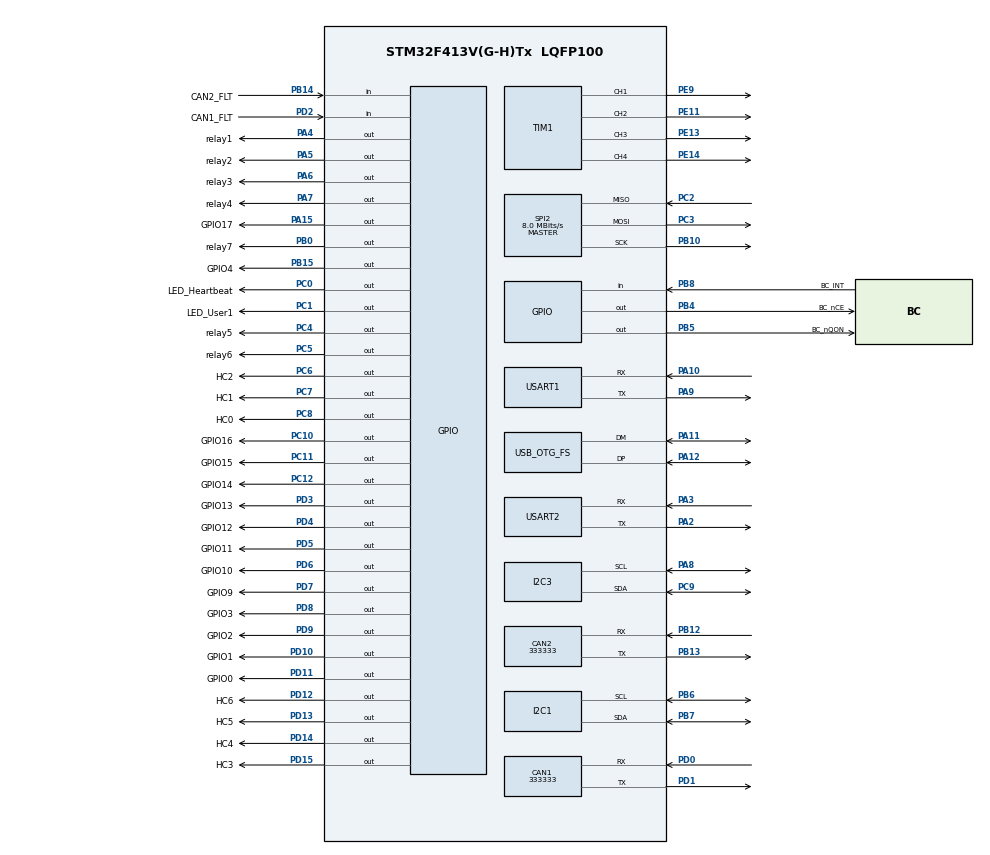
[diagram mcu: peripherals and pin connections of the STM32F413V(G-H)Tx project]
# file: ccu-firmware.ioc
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CAN1.CalculateBaudRate=333333
CAN1.CalculateTimeBit=3000
CAN1.CalculateTimeQuantum=1000.0
CAN2.CalculateBaudRate=333333
CAN2.CalculateTimeBit=3000
CAN2.CalculateTimeQuantum=1000.0
FREERTOS.Tasks01=defaultTask,24,128,StartDefaultTask,Default,NULL,Dynamic,NULL,NULL
Mcu.Family=STM32F4
Mcu.Name=STM32F413V(G-H)Tx
Mcu.Package=LQFP100
NVIC.OTG_FS_IRQn=true\:5\:0\:false\:false\:true\:true\:false\:true\:true
NVIC.PriorityGroup=NVIC_PRIORITYGROUP_4
PA10.Mode=Asynchronous
PA10.Signal=USART1_RX
PA11.Mode=Device_Only
PA11.Signal=USB_OTG_FS_DM
PA12.Mode=Device_Only
PA12.Signal=USB_OTG_FS_DP
PA13.Mode=Trace_Asynchronous_SW
PA13.Signal=SYS_JTMS-SWDIO
PA14.Mode=Trace_Asynchronous_SW
PA14.Signal=SYS_JTCK-SWCLK
PA15.GPIO_Label=GPIO17
PA15.Signal=GPIO_Output
PA2.Mode=Asynchronous
PA2.Signal=USART2_TX
PA3.Mode=Asynchronous
PA3.Signal=USART2_RX
PA4.GPIO_Label=relay1
PA4.Signal=GPIO_Output
PA5.GPIO_Label=relay2
PA5.Signal=GPIO_Output
PA6.GPIO_Label=relay3
PA6.Signal=GPIO_Output
PA7.GPIO_Label=relay4
PA7.Signal=GPIO_Output
PA8.Mode=I2C
PA8.Signal=I2C3_SCL
PA9.Mode=Asynchronous
PA9.Signal=USART1_TX
PB0.GPIO_Label=relay7
PB0.Signal=GPIO_Output
PB10.Mode=Full_Duplex_Master
PB10.Signal=SPI2_SCK
PB12.Mode=CAN_Activate
PB12.Signal=CAN2_RX
PB13.Mode=CAN_Activate
PB13.Signal=CAN2_TX
PB14.GPIO_Label=CAN2_FLT
PB14.Signal=GPIO_Input
PB15.GPIO_Label=GPIO4
PB15.Signal=GPIO_Output
PB3.Mode=Trace_Asynchronous_SW
PB3.Signal=SYS_JTDO-SWO
PB4.GPIO_Label=BC_nCE
PB4.Signal=GPIO_Output
PB5.GPIO_Label=BC_nQON
PB5.Signal=GPIO_Output
PB6.Mode=I2C
PB6.Signal=I2C1_SCL
PB7.Mode=I2C
PB7.Signal=I2C1_SDA
PB8.GPIO_Label=BC_INT
PB8.Signal=GPIO_Input
PC0.GPIO_Label=LED_Heartbeat
PC0.Signal=GPIO_Output
PC1.GPIO_Label=LED_User1
PC1.Signal=GPIO_Output
PC10.GPIO_Label=GPIO16
PC10.Signal=GPIO_Output
PC11.GPIO_Label=GPIO15
PC11.Signal=GPIO_Output
PC12.GPIO_Label=GPIO14
PC12.Signal=GPIO_Output
PC2.Mode=Full_Duplex_Master
PC2.Signal=SPI2_MISO
PC3.Mode=Full_Duplex_Master
PC3.Signal=SPI2_MOSI
PC4.GPIO_Label=relay5
PC4.Signal=GPIO_Output
PC5.GPIO_Label=relay6
PC5.Signal=GPIO_Output
PC6.GPIO_Label=HC2
PC6.Signal=GPIO_Output
PC7.GPIO_Label=HC1
PC7.Signal=GPIO_Output
PC8.GPIO_Label=HC0
PC8.Signal=GPIO_Output
PC9.Mode=I2C
PC9.Signal=I2C3_SDA
PD0.Mode=CAN_Activate
PD0.Signal=CAN1_RX
PD1.Mode=CAN_Activate
PD1.Signal=CAN1_TX
PD10.GPIO_Label=GPIO1
PD10.Signal=GPIO_Output
PD11.GPIO_Label=GPIO0
PD11.Signal=GPIO_Output
PD12.GPIO_Label=HC6
PD12.Signal=GPIO_Output
PD13.GPIO_Label=HC5
PD13.Signal=GPIO_Output
PD14.GPIO_Label=HC4
PD14.Signal=GPIO_Output
PD15.GPIO_Label=HC3
PD15.Signal=GPIO_Output
PD2.GPIO_Label=CAN1_FLT
PD2.Signal=GPIO_Input
PD3.GPIO_Label=GPIO13
PD3.Signal=GPIO_Output
PD4.GPIO_Label=GPIO12
PD4.Signal=GPIO_Output
PD5.GPIO_Label=GPIO11
PD5.Signal=GPIO_Output
PD6.GPIO_Label=GPIO10
PD6.Signal=GPIO_Output
PD7.GPIO_Label=GPIO9
PD7.Signal=GPIO_Output
PD8.GPIO_Label=GPIO3
PD8.Signal=GPIO_Output
PD9.GPIO_Label=GPIO2
PD9.Signal=GPIO_Output
PE11.Signal=S_TIM1_CH2
PE13.Signal=S_TIM1_CH3
PE14.Signal=S_TIM1_CH4
PE9.Signal=S_TIM1_CH1
PH0\ -\ OSC_IN.Mode=HSE-External-Oscillator
PH0\ -\ OSC_IN.Signal=RCC_OSC_IN
PH1\ -\ OSC_OUT.Mode=HSE-External-Oscillator
PH1\ -\ OSC_OUT.Signal=RCC_OSC_OUT
ProjectManager.HeapSize=0x200
ProjectManager.StackSize=0x400
ProjectManager.TargetToolchain=STM32CubeIDE
RCC.CortexFreq_Value=16000000
RCC.HSE_VALUE=25000000
RCC.PLLM=15
RCC.PLLN=144
RCC.PLLQ=5
RCC.USBFreq_Value=48000000
RCC.VCOOutputFreq_Value=240000000
SH.S_TIM1_CH1.0=TIM1_CH1,PWM Generation1 CH1
SH.S_TIM1_CH2.0=TIM1_CH2,PWM Generation2 CH2
SH.S_TIM1_CH3.0=TIM1_CH3,PWM Generation3 CH3
SH.S_TIM1_CH4.0=TIM1_CH4,PWM Generation4 CH4
SPI2.CalculateBaudRate=8.0 MBits/s
SPI2.Direction=SPI_DIRECTION_2LINES
SPI2.Mode=SPI_MODE_MASTER
SPI2.VirtualType=VM_MASTER
TIM1.Channel-PWM\ Generation1\ CH1=TIM_CHANNEL_1
TIM1.Channel-PWM\ Generation2\ CH2=TIM_CHANNEL_2
TIM1.Channel-PWM\ Generation3\ CH3=TIM_CHANNEL_3
TIM1.Channel-PWM\ Generation4\ CH4=TIM_CHANNEL_4
USART1.VirtualMode=VM_ASYNC
USART2.VirtualMode=VM_ASYNC
USB_DEVICE.CLASS_NAME_FS=CDC
USB_DEVICE.VirtualMode=Cdc
USB_DEVICE.VirtualModeFS=Cdc_FS
USB_OTG_FS.VirtualMode=Device_Only
VP_FREERTOS_VS_CMSIS_V2.Mode=CMSIS_V2
VP_USB_DEVICE_VS_USB_DEVICE_CDC_FS.Mode=CDC_FS
board=custom

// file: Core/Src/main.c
/* USER CODE BEGIN Header */
/**
  ******************************************************************************
  * @file           : main.c
  * @brief          : Main program body
  ******************************************************************************
  * @attention
  *
  * Copyright (c) 2026 STMicroelectronics.
  * All rights reserved.
  *
  * This software is licensed under terms that can be found in the LICENSE file
  * in the root directory of this software component.
  * If no LICENSE file comes with this software, it is provided AS-IS.
  *
  ******************************************************************************
  */

/**
 * @defgroup CCU_Firmware
 * @brief All code for the Solar Car CCU *written by us*. Make sure all written
 * files, modules, etc are added to this group.
 *
 * @{
 */

/**
 * @defgroup Main
 * @brief Main file \ref Core/Src/main.c
 *
 * @{
 */
/* USER CODE END Header */
#include "main.h"
#include "cmsis_os.h"
#include "usb_device.h"

/* USER CODE BEGIN Includes */
#include "CAN/Inc/can_dictionary.h"
#include "CAN/Inc/can_motor.h"

/* USER CODE END Includes */

/* USER CODE BEGIN PTD */

/**
 * @brief Messages coming into bus
 */
typedef struct {
	uint32_t id;		/**< CAN ID of recipient */
	uint8_t data[8];	/**< Data to send */
} CAN_RxMessage_t;

/**
 * @brief Messages going out of bus
 */
typedef struct {
	uint32_t id;		/**< CAN ID of recipient */
	uint8_t data[8];	/**< Data to send */
} CAN_TxMessage_t;

/* USER CODE END PTD */

CAN_HandleTypeDef hcan1;
CAN_HandleTypeDef hcan2;

I2C_HandleTypeDef hi2c1;
I2C_HandleTypeDef hi2c3;

SPI_HandleTypeDef hspi2;

TIM_HandleTypeDef htim1;

UART_HandleTypeDef huart1;
UART_HandleTypeDef huart2;

/* Definitions for defaultTask */
osThreadId_t defaultTaskHandle;
const osThreadAttr_t defaultTask_attributes = {
  .name = "defaultTask",
  .stack_size = 128 * 4,
  .priority = (osPriority_t) osPriorityNormal,
};
/* USER CODE BEGIN PV */

//Vehicle States
typedef enum {
  Vehicle_Init, //Start Car
  Vehicle_Booting, //Boot Car
  Vehicle_Drive, //Drive Car
  Vehicle_Fault //Error Car
} VehicleState_t;

//When the vehicle is started, it is initialized to its Boot mode
VehicleState_t CurrentVehicleState = Vehicle_Init;

//Motor Command Memory
extern CommandType LastCommandSent_M1 = COMMAND_NONE; //Left motor command memory
extern CommandType LastCommandSent_M2 = COMMAND_NONE; //Right motor command memory

extern MotorPacketInfo LeftMotor;
extern MotorPacketInfo RightMotor;

volatile TaskHandle_t xLeftMotorWaiting = NULL;
volatile TaskHandle_t xRightMotorWaiting = NULL;

uint8_t LeftMotorRxBuffer[8];
uint8_t RightMotorRxBuffer[8];

MPPT1_Data_t MPPT1_Data;

//Counts number of dropped packets
uint8_t FaultCounter_M1 = 0;
uint8_t FaultCounter_M2 = 0;

/* USER CODE END PV */

void SystemClock_Config(void);
static void MX_GPIO_Init(void);
static void MX_CAN1_Init(void);
static void MX_CAN2_Init(void);
static void MX_I2C1_Init(void);
static void MX_USART1_UART_Init(void);
static void MX_I2C3_Init(void);
static void MX_SPI2_Init(void);
static void MX_TIM1_Init(void);
static void MX_USART2_UART_Init(void);
void StartDefaultTask(void *argument);

int main(void)
{

  /* MCU Configuration--------------------------------------------------------*/

  /* Reset of all peripherals, Initializes the Flash interface and the Systick. */
  HAL_Init();

  /* Configure the system clock */
  SystemClock_Config();

  /* Initialize all configured peripherals */
  MX_GPIO_Init();
  MX_CAN1_Init();
  MX_CAN2_Init();
  MX_I2C1_Init();
  MX_USART1_UART_Init();
  MX_I2C3_Init();
  MX_SPI2_Init();
  MX_TIM1_Init();
  MX_USART2_UART_Init();
  /* USER CODE BEGIN 2 */

  /* Setup CAN filters for kelly controllers and MPPT controllers. */
  CCU_CAN_FilterConfig(&hcan1, &hcan2);

  HAL_CAN_Start(&hcan1);
  HAL_CAN_ActivateNotification(&hcan1, CAN_IT_RX_FIFO0_MSG_PENDING);
  HAL_CAN_Start(&hcan2);
  HAL_CAN_ActivateNotification(&hcan2, CAN_IT_RX_FIFO0_MSG_PENDING);

  /* USER CODE END 2 */

  /* Init scheduler */
  osKernelInitialize();

  /* Create the thread(s) */
  /* creation of defaultTask */
  defaultTaskHandle = osThreadNew(StartDefaultTask, NULL, &defaultTask_attributes);

  /* Start scheduler */
  osKernelStart();

  /* We should never get here as control is now taken by the scheduler */

  /* Infinite loop */
  while (1)
  {

  }
}

void SystemClock_Config(void)
{
  RCC_OscInitTypeDef RCC_OscInitStruct = {0};
  RCC_ClkInitTypeDef RCC_ClkInitStruct = {0};

  /** Configure the main internal regulator output voltage
  */
  __HAL_RCC_PWR_CLK_ENABLE();
  __HAL_PWR_VOLTAGESCALING_CONFIG(PWR_REGULATOR_VOLTAGE_SCALE1);

  /** Initializes the RCC Oscillators according to the specified parameters
  * in the RCC_OscInitTypeDef structure.
  */
  RCC_OscInitStruct.OscillatorType = RCC_OSCILLATORTYPE_HSI|RCC_OSCILLATORTYPE_HSE;
  RCC_OscInitStruct.HSEState = RCC_HSE_ON;
  RCC_OscInitStruct.HSIState = RCC_HSI_ON;
  RCC_OscInitStruct.HSICalibrationValue = RCC_HSICALIBRATION_DEFAULT;
  RCC_OscInitStruct.PLL.PLLState = RCC_PLL_ON;
  RCC_OscInitStruct.PLL.PLLSource = RCC_PLLSOURCE_HSE;
  RCC_OscInitStruct.PLL.PLLM = 15;
  RCC_OscInitStruct.PLL.PLLN = 144;
  RCC_OscInitStruct.PLL.PLLP = RCC_PLLP_DIV2;
  RCC_OscInitStruct.PLL.PLLQ = 5;
  RCC_OscInitStruct.PLL.PLLR = 2;
  if (HAL_RCC_OscConfig(&RCC_OscInitStruct) != HAL_OK)
  {
    Error_Handler();
  }

  /** Initializes the CPU, AHB and APB buses clocks
  */
  RCC_ClkInitStruct.ClockType = RCC_CLOCKTYPE_HCLK|RCC_CLOCKTYPE_SYSCLK
                              |RCC_CLOCKTYPE_PCLK1|RCC_CLOCKTYPE_PCLK2;
  RCC_ClkInitStruct.SYSCLKSource = RCC_SYSCLKSOURCE_HSI;
  RCC_ClkInitStruct.AHBCLKDivider = RCC_SYSCLK_DIV1;
  RCC_ClkInitStruct.APB1CLKDivider = RCC_HCLK_DIV1;
  RCC_ClkInitStruct.APB2CLKDivider = RCC_HCLK_DIV1;

  if (HAL_RCC_ClockConfig(&RCC_ClkInitStruct, FLASH_LATENCY_0) != HAL_OK)
  {
    Error_Handler();
  }
}

static void MX_CAN1_Init(void)
{

  hcan1.Instance = CAN1;
  hcan1.Init.Prescaler = 16;
  hcan1.Init.Mode = CAN_MODE_NORMAL;
  hcan1.Init.SyncJumpWidth = CAN_SJW_1TQ;
  hcan1.Init.TimeSeg1 = CAN_BS1_1TQ;
  hcan1.Init.TimeSeg2 = CAN_BS2_1TQ;
  hcan1.Init.TimeTriggeredMode = DISABLE;
  hcan1.Init.AutoBusOff = DISABLE;
  hcan1.Init.AutoWakeUp = DISABLE;
  hcan1.Init.AutoRetransmission = DISABLE;
  hcan1.Init.ReceiveFifoLocked = DISABLE;
  hcan1.Init.TransmitFifoPriority = DISABLE;
  if (HAL_CAN_Init(&hcan1) != HAL_OK)
  {
    Error_Handler();
  }

}

static void MX_CAN2_Init(void)
{

  hcan2.Instance = CAN2;
  hcan2.Init.Prescaler = 16;
  hcan2.Init.Mode = CAN_MODE_NORMAL;
  hcan2.Init.SyncJumpWidth = CAN_SJW_1TQ;
  hcan2.Init.TimeSeg1 = CAN_BS1_1TQ;
  hcan2.Init.TimeSeg2 = CAN_BS2_1TQ;
  hcan2.Init.TimeTriggeredMode = DISABLE;
  hcan2.Init.AutoBusOff = DISABLE;
  hcan2.Init.AutoWakeUp = DISABLE;
  hcan2.Init.AutoRetransmission = DISABLE;
  hcan2.Init.ReceiveFifoLocked = DISABLE;
  hcan2.Init.TransmitFifoPriority = DISABLE;
  if (HAL_CAN_Init(&hcan2) != HAL_OK)
  {
    Error_Handler();
  }

}

static void MX_I2C1_Init(void)
{

  hi2c1.Instance = I2C1;
  hi2c1.Init.ClockSpeed = 100000;
  hi2c1.Init.DutyCycle = I2C_DUTYCYCLE_2;
  hi2c1.Init.OwnAddress1 = 0;
  hi2c1.Init.AddressingMode = I2C_ADDRESSINGMODE_7BIT;
  hi2c1.Init.DualAddressMode = I2C_DUALADDRESS_DISABLE;
  hi2c1.Init.OwnAddress2 = 0;
  hi2c1.Init.GeneralCallMode = I2C_GENERALCALL_DISABLE;
  hi2c1.Init.NoStretchMode = I2C_NOSTRETCH_DISABLE;
  if (HAL_I2C_Init(&hi2c1) != HAL_OK)
  {
    Error_Handler();
  }

}

static void MX_I2C3_Init(void)
{

  hi2c3.Instance = I2C3;
  hi2c3.Init.ClockSpeed = 100000;
  hi2c3.Init.DutyCycle = I2C_DUTYCYCLE_2;
  hi2c3.Init.OwnAddress1 = 0;
  hi2c3.Init.AddressingMode = I2C_ADDRESSINGMODE_7BIT;
  hi2c3.Init.DualAddressMode = I2C_DUALADDRESS_DISABLE;
  hi2c3.Init.OwnAddress2 = 0;
  hi2c3.Init.GeneralCallMode = I2C_GENERALCALL_DISABLE;
  hi2c3.Init.NoStretchMode = I2C_NOSTRETCH_DISABLE;
  if (HAL_I2C_Init(&hi2c3) != HAL_OK)
  {
    Error_Handler();
  }

}

static void MX_SPI2_Init(void)
{

  /* SPI2 parameter configuration*/
  hspi2.Instance = SPI2;
  hspi2.Init.Mode = SPI_MODE_MASTER;
  hspi2.Init.Direction = SPI_DIRECTION_2LINES;
  hspi2.Init.DataSize = SPI_DATASIZE_8BIT;
  hspi2.Init.CLKPolarity = SPI_POLARITY_LOW;
  hspi2.Init.CLKPhase = SPI_PHASE_1EDGE;
  hspi2.Init.NSS = SPI_NSS_SOFT;
  hspi2.Init.BaudRatePrescaler = SPI_BAUDRATEPRESCALER_2;
  hspi2.Init.FirstBit = SPI_FIRSTBIT_MSB;
  hspi2.Init.TIMode = SPI_TIMODE_DISABLE;
  hspi2.Init.CRCCalculation = SPI_CRCCALCULATION_DISABLE;
  hspi2.Init.CRCPolynomial = 10;
  if (HAL_SPI_Init(&hspi2) != HAL_OK)
  {
    Error_Handler();
  }

}

static void MX_TIM1_Init(void)
{

  TIM_MasterConfigTypeDef sMasterConfig = {0};
  TIM_OC_InitTypeDef sConfigOC = {0};
  TIM_BreakDeadTimeConfigTypeDef sBreakDeadTimeConfig = {0};

  htim1.Instance = TIM1;
  htim1.Init.Prescaler = 0;
  htim1.Init.CounterMode = TIM_COUNTERMODE_UP;
  htim1.Init.Period = 65535;
  htim1.Init.ClockDivision = TIM_CLOCKDIVISION_DIV1;
  htim1.Init.RepetitionCounter = 0;
  htim1.Init.AutoReloadPreload = TIM_AUTORELOAD_PRELOAD_DISABLE;
  if (HAL_TIM_PWM_Init(&htim1) != HAL_OK)
  {
    Error_Handler();
  }
  sMasterConfig.MasterOutputTrigger = TIM_TRGO_RESET;
  sMasterConfig.MasterSlaveMode = TIM_MASTERSLAVEMODE_DISABLE;
  if (HAL_TIMEx_MasterConfigSynchronization(&htim1, &sMasterConfig) != HAL_OK)
  {
    Error_Handler();
  }
  sConfigOC.OCMode = TIM_OCMODE_PWM1;
  sConfigOC.Pulse = 0;
  sConfigOC.OCPolarity = TIM_OCPOLARITY_HIGH;
  sConfigOC.OCNPolarity = TIM_OCNPOLARITY_HIGH;
  sConfigOC.OCFastMode = TIM_OCFAST_DISABLE;
  sConfigOC.OCIdleState = TIM_OCIDLESTATE_RESET;
  sConfigOC.OCNIdleState = TIM_OCNIDLESTATE_RESET;
  if (HAL_TIM_PWM_ConfigChannel(&htim1, &sConfigOC, TIM_CHANNEL_1) != HAL_OK)
  {
    Error_Handler();
  }
  if (HAL_TIM_PWM_ConfigChannel(&htim1, &sConfigOC, TIM_CHANNEL_2) != HAL_OK)
  {
    Error_Handler();
  }
  if (HAL_TIM_PWM_ConfigChannel(&htim1, &sConfigOC, TIM_CHANNEL_3) != HAL_OK)
  {
    Error_Handler();
  }
  if (HAL_TIM_PWM_ConfigChannel(&htim1, &sConfigOC, TIM_CHANNEL_4) != HAL_OK)
  {
    Error_Handler();
  }
  sBreakDeadTimeConfig.OffStateRunMode = TIM_OSSR_DISABLE;
  sBreakDeadTimeConfig.OffStateIDLEMode = TIM_OSSI_DISABLE;
  sBreakDeadTimeConfig.LockLevel = TIM_LOCKLEVEL_OFF;
  sBreakDeadTimeConfig.DeadTime = 0;
  sBreakDeadTimeConfig.BreakState = TIM_BREAK_DISABLE;
  sBreakDeadTimeConfig.BreakPolarity = TIM_BREAKPOLARITY_HIGH;
  sBreakDeadTimeConfig.AutomaticOutput = TIM_AUTOMATICOUTPUT_DISABLE;
  if (HAL_TIMEx_ConfigBreakDeadTime(&htim1, &sBreakDeadTimeConfig) != HAL_OK)
  {
    Error_Handler();
  }
  HAL_TIM_MspPostInit(&htim1);

}

static void MX_USART1_UART_Init(void)
{

  huart1.Instance = USART1;
  huart1.Init.BaudRate = 115200;
  huart1.Init.WordLength = UART_WORDLENGTH_8B;
  huart1.Init.StopBits = UART_STOPBITS_1;
  huart1.Init.Parity = UART_PARITY_NONE;
  huart1.Init.Mode = UART_MODE_TX_RX;
  huart1.Init.HwFlowCtl = UART_HWCONTROL_NONE;
  huart1.Init.OverSampling = UART_OVERSAMPLING_16;
  if (HAL_UART_Init(&huart1) != HAL_OK)
  {
    Error_Handler();
  }

}

static void MX_USART2_UART_Init(void)
{

  huart2.Instance = USART2;
  huart2.Init.BaudRate = 115200;
  huart2.Init.WordLength = UART_WORDLENGTH_8B;
  huart2.Init.StopBits = UART_STOPBITS_1;
  huart2.Init.Parity = UART_PARITY_NONE;
  huart2.Init.Mode = UART_MODE_TX_RX;
  huart2.Init.HwFlowCtl = UART_HWCONTROL_NONE;
  huart2.Init.OverSampling = UART_OVERSAMPLING_16;
  if (HAL_UART_Init(&huart2) != HAL_OK)
  {
    Error_Handler();
  }

}

static void MX_GPIO_Init(void)
{
  GPIO_InitTypeDef GPIO_InitStruct = {0};

  /* GPIO Ports Clock Enable */
  __HAL_RCC_GPIOH_CLK_ENABLE();
  __HAL_RCC_GPIOC_CLK_ENABLE();
  __HAL_RCC_GPIOA_CLK_ENABLE();
  __HAL_RCC_GPIOB_CLK_ENABLE();
  __HAL_RCC_GPIOE_CLK_ENABLE();
  __HAL_RCC_GPIOD_CLK_ENABLE();

  /*Configure GPIO pin Output Level */
  HAL_GPIO_WritePin(GPIOC, LED_Heartbeat_Pin|LED_User1_Pin|relay5_Pin|relay6_Pin
                          |HC2_Pin|HC1_Pin|HC0_Pin|GPIO16_Pin
                          |GPIO15_Pin|GPIO14_Pin, GPIO_PIN_RESET);

  /*Configure GPIO pin Output Level */
  HAL_GPIO_WritePin(GPIOA, relay1_Pin|relay2_Pin|relay3_Pin|relay4_Pin
                          |GPIO17_Pin, GPIO_PIN_RESET);

  /*Configure GPIO pin Output Level */
  HAL_GPIO_WritePin(GPIOB, relay7_Pin|GPIO4_Pin|BC_nCE_Pin|BC_nQON_Pin, GPIO_PIN_RESET);

  /*Configure GPIO pin Output Level */
  HAL_GPIO_WritePin(GPIOD, GPIO3_Pin|GPIO2_Pin|GPIO1_Pin|GPIO0_Pin
                          |HC6_Pin|HC5_Pin|HC4_Pin|HC3_Pin
                          |GPIO13_Pin|GPIO12_Pin|GPIO11_Pin|GPIO10_Pin
                          |GPIO9_Pin, GPIO_PIN_RESET);

  /*Configure GPIO pins : LED_Heartbeat_Pin LED_User1_Pin relay5_Pin relay6_Pin
                           HC2_Pin HC1_Pin HC0_Pin GPIO16_Pin
                           GPIO15_Pin GPIO14_Pin */
  GPIO_InitStruct.Pin = LED_Heartbeat_Pin|LED_User1_Pin|relay5_Pin|relay6_Pin
                          |HC2_Pin|HC1_Pin|HC0_Pin|GPIO16_Pin
                          |GPIO15_Pin|GPIO14_Pin;
  GPIO_InitStruct.Mode = GPIO_MODE_OUTPUT_PP;
  GPIO_InitStruct.Pull = GPIO_NOPULL;
  GPIO_InitStruct.Speed = GPIO_SPEED_FREQ_LOW;
  HAL_GPIO_Init(GPIOC, &GPIO_InitStruct);

  /*Configure GPIO pins : relay1_Pin relay2_Pin relay3_Pin relay4_Pin
                           GPIO17_Pin */
  GPIO_InitStruct.Pin = relay1_Pin|relay2_Pin|relay3_Pin|relay4_Pin
                          |GPIO17_Pin;
  GPIO_InitStruct.Mode = GPIO_MODE_OUTPUT_PP;
  GPIO_InitStruct.Pull = GPIO_NOPULL;
  GPIO_InitStruct.Speed = GPIO_SPEED_FREQ_LOW;
  HAL_GPIO_Init(GPIOA, &GPIO_InitStruct);

  /*Configure GPIO pins : relay7_Pin GPIO4_Pin BC_nCE_Pin BC_nQON_Pin */
  GPIO_InitStruct.Pin = relay7_Pin|GPIO4_Pin|BC_nCE_Pin|BC_nQON_Pin;
  GPIO_InitStruct.Mode = GPIO_MODE_OUTPUT_PP;
  GPIO_InitStruct.Pull = GPIO_NOPULL;
  GPIO_InitStruct.Speed = GPIO_SPEED_FREQ_LOW;
  HAL_GPIO_Init(GPIOB, &GPIO_InitStruct);

  /*Configure GPIO pins : CAN2_FLT_Pin BC_INT_Pin */
  GPIO_InitStruct.Pin = CAN2_FLT_Pin|BC_INT_Pin;
  GPIO_InitStruct.Mode = GPIO_MODE_INPUT;
  GPIO_InitStruct.Pull = GPIO_NOPULL;
  HAL_GPIO_Init(GPIOB, &GPIO_InitStruct);

  /*Configure GPIO pins : GPIO3_Pin GPIO2_Pin GPIO1_Pin GPIO0_Pin
                           HC6_Pin HC5_Pin HC4_Pin HC3_Pin
                           GPIO13_Pin GPIO12_Pin GPIO11_Pin GPIO10_Pin
                           GPIO9_Pin */
  GPIO_InitStruct.Pin = GPIO3_Pin|GPIO2_Pin|GPIO1_Pin|GPIO0_Pin
                          |HC6_Pin|HC5_Pin|HC4_Pin|HC3_Pin
                          |GPIO13_Pin|GPIO12_Pin|GPIO11_Pin|GPIO10_Pin
                          |GPIO9_Pin;
  GPIO_InitStruct.Mode = GPIO_MODE_OUTPUT_PP;
  GPIO_InitStruct.Pull = GPIO_NOPULL;
  GPIO_InitStruct.Speed = GPIO_SPEED_FREQ_LOW;
  HAL_GPIO_Init(GPIOD, &GPIO_InitStruct);

  /*Configure GPIO pin : CAN1_FLT_Pin */
  GPIO_InitStruct.Pin = CAN1_FLT_Pin;
  GPIO_InitStruct.Mode = GPIO_MODE_INPUT;
  GPIO_InitStruct.Pull = GPIO_NOPULL;
  HAL_GPIO_Init(CAN1_FLT_GPIO_Port, &GPIO_InitStruct);

}

/* USER CODE BEGIN 4 */

/**
 * @brief Our implementation of the HAL CAN's interrupt callback function, overrides the weak version in
 * \ref stm32f4xx_hal_can.c. This function should be modified if **ANY** function is designed to be blocked
 * until woken up by a CAN interrupt.
 * @param hcan: a pointer to a \ref CAN_HandleTypeDef struct. Probably hcan1 or hcan2.
 */
void HAL_CAN_RxFifo0MsgPendingCallback(CAN_HandleTypeDef *hcan) {
	CAN_RxHeaderTypeDef rxHeader;
	TaskHandle_t * TaskToNotify;
	uint8_t * dataFinalDest;
	uint8_t data[8];

	/* Pop the actual message out of the fifo, select motor, and wake up task */
	if (HAL_CAN_GetRxMessage(hcan, CAN_RX_FIFO0, &rxHeader, data) == HAL_OK) {
		/* Switch block to select the correct motor */
		switch (rxHeader.StdId) {
			case CAN_ID_MOTOR_LEFT_RSP:
				*TaskToNotify = xLeftMotorWaiting;
				dataFinalDest = &LeftMotorRxBuffer[0];
			case CAN_ID_MOTOR_RIGHT_RSP:
				*TaskToNotify = xRightMotorWaiting;
				dataFinalDest = &RightMotorRxBuffer[0];
		}

		/* Copy 8 bytes from data array to the final dest */
		memcpy(dataFinalDest, data, 8);

		/* Wake up the task and force context switch */
		BaseType_t taskwoken = pdFALSE;
		vTaskNotifyGiveFromISR(*TaskToNotify, &taskwoken);
		portYIELD_FROM_ISR(taskwoken);
	} else {
		return;
	}
}

/**
 * @}
 */

/**
 * @}
 */
/* USER CODE END 4 */

void StartDefaultTask(void *argument)
{
  /* init code for USB_DEVICE */
  MX_USB_DEVICE_Init();
  /* USER CODE BEGIN 5 */
  /* Infinite loop */
  for(;;) {
    switch (CurrentVehicleState) {
	case Vehicle_Init:
		Neg_Main_OFF();
        Pos_Main_OFF();
        Supp_Battery_OFF();
        LV_Relay_OFF();
        Motor_Relays_OFF();
        Charge_Relay_OFF();
        ReadyFlag = 0;
		//if(pushtostart == 1)
	  	CurrentVehicleState = Vehicle_Booting;
	  	break;
	case Vehicle_Booting:
		{
	  	static uint32_t bootTimer = 0;

			if (bootTimer == 0) {
                Neg_Main_ON();
            }
            //T = 1000ms
            else if (bootTimer == 1000) {
                Pos_Main_ON();
            }
            //T = 2000ms
            else if (bootTimer == 2000) {
                Supp_Battery_ON();
            }
            //T = 7000ms
            else if (bootTimer == 7000) {
                Motor_Relays_ON();
            }
            //T = 17000ms
            else if (bootTimer >= 17000) {
                Charge_Relay_ON();
                ReadyFlag = 1;
                CurrentVehicleState = Vehicle_Drive;
                bootTimer = 0; // Reset timer for the next time the car starts
                break;
            }

            //Same value as master loop
            bootTimer += 20;
		}
	  	break;
	case Vehicle_Drive:
	  	/*add code regarding temp safety and lost packets that would warrant switching
		to the fault state*/
		if ((LeftMotor.MotorTemp >= 90 && LeftMotor.MotorTemp != 0xFF) ||
            (RightMotor.MotorTemp >= 90 && RightMotor.MotorTemp != 0xFF)) {
            CurrentVehicleState = Vehicle_Fault;
		}

		if ((LeftMotor.MotorTemp > 60 && LeftMotor.MotorTemp != 0xFF) ||
            (RightMotor.MotorTemp > 60 && RightMotor.MotorTemp != 0xFF)) {
            Cooling_Fan_ON();
        } else if (LeftMotor.MotorTemp < 40 && RightMotor.MotorTemp < 40) {
            Cooling_Fan_OFF();
        }

	  	break;
	case Vehicle_Fault:
	  	Neg_Main_OFF();
        Pos_Main_OFF();
        Supp_Battery_OFF();
        LV_Relay_OFF();
        Motor_Relays_OFF();
        Charge_Relay_OFF();

		ReadyFlag = 0;
	  	break;
	default:
		//Safety in case state is unknown
		CurrentVehicleState = Vehicle_Fault;
		break;
	}
	//LED Feedback
	if (ReadyFlag == 1) {
		LED_Heartbeat_ON();
	}
	else if (CurrentVehicleState == Vehicle_Booting) {
        static uint8_t blinkCounter = 0;
        blinkCounter++;
        // 25 loops * 20ms = 500ms
        if (blinkCounter >= 25) {
            LED_Heartbeat_TOGGLE();
            blinkCounter = 0;
        }
    }
    else {
        LED_Heartbeat_OFF();
    }
    osDelay(20);
  }
  /* USER CODE END 5 */
}

void Error_Handler(void)
{
  __disable_irq();
  while (1)
  {
  }
}
